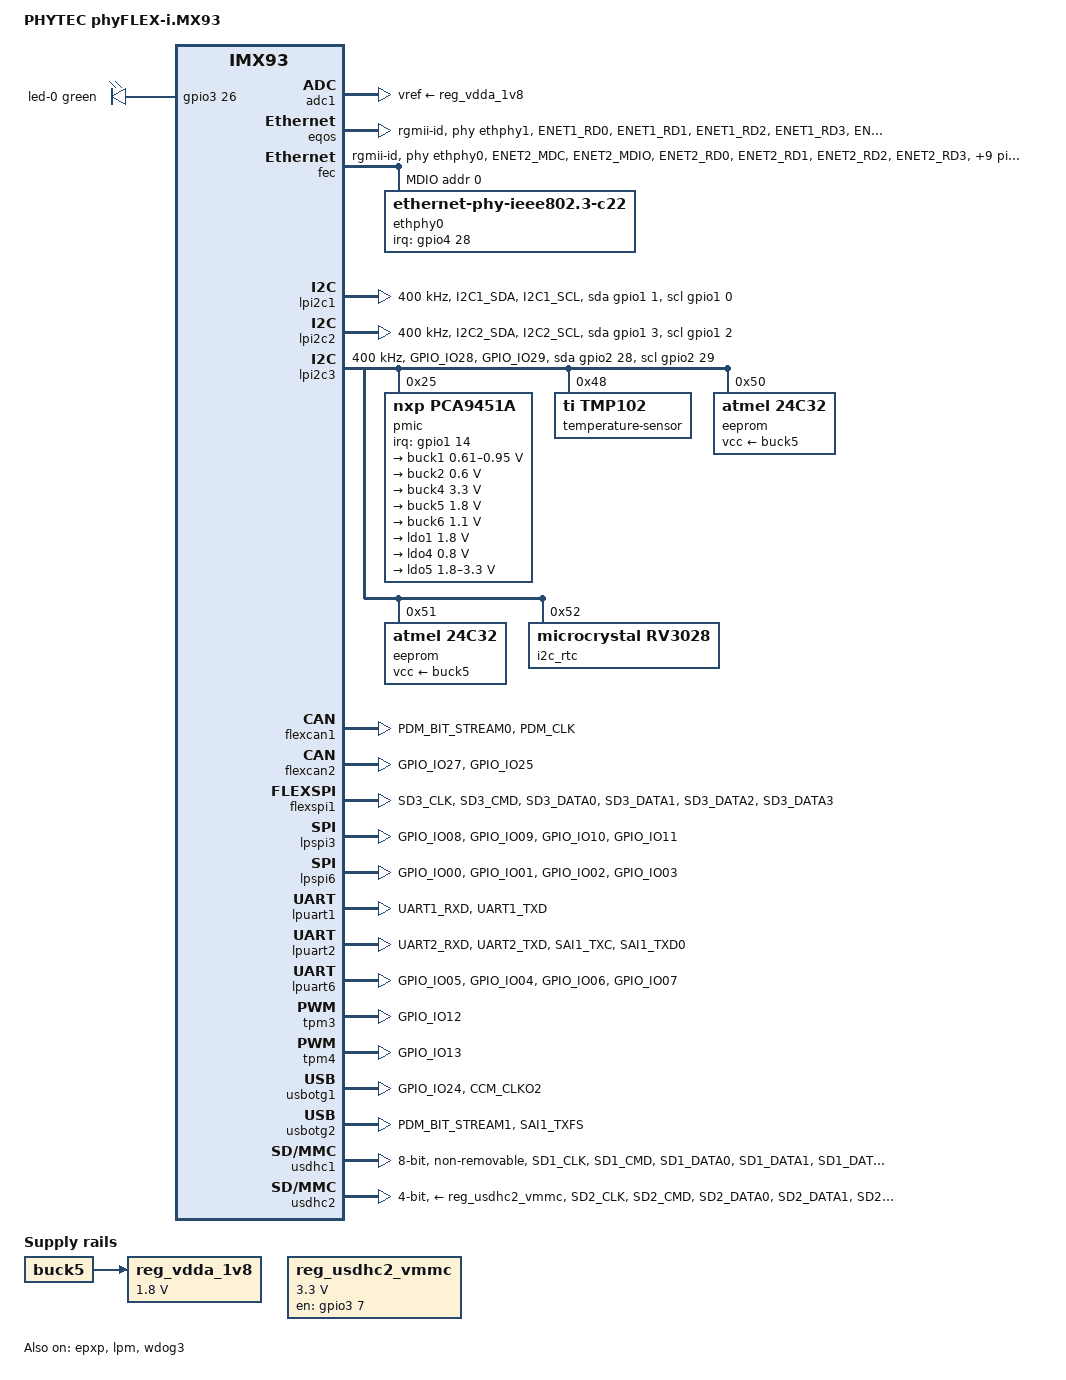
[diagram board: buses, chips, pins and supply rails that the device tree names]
// SPDX-License-Identifier: (GPL-2.0+ OR MIT)
/*
 * Copyright (C) 2025 PHYTEC Messtechnik GmbH
 * Christoph Stoidner <c.stoidner@phytec.de>
 *
 * Product homepage:
 * https://www.phytec.eu/en/produkte/system-on-modules/phyflex-imx-91-93/
 */

#include <dt-bindings/leds/common.h>

#include "imx93.dtsi"

/{
	model = "PHYTEC phyFLEX-i.MX93";
	compatible = "phytec,imx93-phyflex-fpsc-g", "fsl,imx93";

	aliases {
		/* FPSC alias definitions */
		/delete-property/ ethernet0;
		ethernet1 = &fec;
		ethernet2 = &eqos;
		/delete-property/ i2c0;
		i2c1 = &lpi2c3;
		i2c2 = &lpi2c1;
		i2c3 = &lpi2c2;
		pwm1 = &tpm3;
		pwm2 = &tpm4;
		/delete-property/ serial0;
		serial1 = &lpuart6;
		serial2 = &lpuart2;
		serial3 = &lpuart1;
		spi0 = &flexspi1;
		spi1 = &lpspi6;
		spi2 = &lpspi3;
	};

	reg_usdhc2_vmmc: regulator-usdhc2 {
		compatible = "regulator-fixed";
		gpio = <&gpio3 7 GPIO_ACTIVE_HIGH>;
		enable-active-high;
		pinctrl-names = "default";
		pinctrl-0 = <&pinctrl_reg_usdhc2_vmmc>;
		regulator-name = "VCC_SD";
		regulator-max-microvolt = <3300000>;
		regulator-min-microvolt = <3300000>;
	};

	reserved-memory {
		ranges;
		#address-cells = <2>;
		#size-cells = <2>;

		linux,cma {
			compatible = "shared-dma-pool";
			reusable;
			alloc-ranges = <0 0x80000000 0 0x40000000>;
			size = <0 0x10000000>;
			linux,cma-default;
		};

		ele_reserved: ele-reserved@a4120000 {
			compatible = "shared-dma-pool";
			reg = <0 0xa4120000 0 0x100000>;
			no-map;
		};
	};

	leds {
		compatible = "gpio-leds";
		pinctrl-names = "default";
		pinctrl-0 = <&pinctrl_leds>;

		led-0 {
			color = <LED_COLOR_ID_GREEN>;
			function = LED_FUNCTION_HEARTBEAT;
			gpios = <&gpio3 26 GPIO_ACTIVE_HIGH>;
			linux,default-trigger = "heartbeat";
		};
	};

	reg_vdda_1v8: regulator-vdda-1v8 {
		compatible = "regulator-fixed";
		regulator-name = "VDDA_1V8";
		regulator-min-microvolt = <1800000>;
		regulator-max-microvolt = <1800000>;
		vin-supply = <&buck5>;
	};
};

/* ADC */
&adc1 {
	vref-supply = <&reg_vdda_1v8>;
};

/* Secure enclave */
&ele_fw2 {
	memory-region = <&ele_reserved>;
};

/* FPSC ENET2 */
&eqos {
	pinctrl-names = "default";
	pinctrl-0 = <&pinctrl_eqos>;
	phy-mode = "rgmii-id";
	phy-handle = <&ethphy1>;
};

/* FPSC ENET1 */
&fec {
	pinctrl-names = "default";
	pinctrl-0 = <&pinctrl_fec>;
	phy-mode = "rgmii-id";
	phy-handle = <&ethphy0>;
	fsl,magic-packet;
	status = "okay";

	mdio: mdio {
		clock-frequency = <5000000>;
		#address-cells = <1>;
		#size-cells = <0>;

		ethphy0: ethernet-phy@0 {
			compatible = "ethernet-phy-ieee802.3-c22";
			reg = <0>;
			interrupt-parent = <&gpio4>;
			interrupts = <28 IRQ_TYPE_LEVEL_LOW>;
			ti,clk-output-sel = <DP83867_CLK_O_SEL_OFF>;
			ti,fifo-depth = <DP83867_PHYCR_FIFO_DEPTH_4_B_NIB>;
			ti,rx-internal-delay = <DP83867_RGMIIDCTL_1_50_NS>;
			ti,tx-internal-delay = <DP83867_RGMIIDCTL_1_75_NS>;
		};
	};
};

&gpio1 {
	gpio-line-names = "", "", "", "", "",
			  "", "", "", "", "",
			  "USB2_PWR_EN", "USB2_OC";
};

/* FPSC GPIO */
&gpio2 {
	gpio-line-names = "", "", "", "", "",
			  "", "", "", "", "",
			  "", "", "", "", "GPIO1",
			  "GPIO2", "", "", "", "",
			  "", "", "GPIO3", "GPIO4", "USB1_PWR_EN";
	pinctrl-0 = <&pinctrl_gpio2>;
	pinctrl-names = "default";
};

&gpio3 {
	gpio-line-names = "", "", "", "", "",
			  "", "", "", "", "",
			  "", "", "", "", "",
			  "", "", "", "", "",
			  "", "", "", "", "",
			  "", "", "USB1_OC";
};

/* FPSC I2C2 */
&lpi2c1 {
	clock-frequency = <400000>;
	pinctrl-names = "default", "gpio";
	pinctrl-0 = <&pinctrl_lpi2c1>;
	pinctrl-1 = <&pinctrl_lpi2c1_gpio>;
	scl-gpios = <&gpio1 0 (GPIO_ACTIVE_HIGH | GPIO_OPEN_DRAIN)>;
	sda-gpios = <&gpio1 1 (GPIO_ACTIVE_HIGH | GPIO_OPEN_DRAIN)>;
};

/* FPSC I2C3 */
&lpi2c2 {
	clock-frequency = <400000>;
	pinctrl-names = "default", "gpio";
	pinctrl-0 = <&pinctrl_lpi2c2>;
	pinctrl-1 = <&pinctrl_lpi2c2_gpio>;
	scl-gpios = <&gpio1 2 (GPIO_ACTIVE_HIGH | GPIO_OPEN_DRAIN)>;
	sda-gpios = <&gpio1 3 (GPIO_ACTIVE_HIGH | GPIO_OPEN_DRAIN)>;
};

/* FPSC I2C1 */
&lpi2c3 {
	clock-frequency = <400000>;
	pinctrl-names = "default", "gpio";
	pinctrl-0 = <&pinctrl_lpi2c3>;
	pinctrl-1 = <&pinctrl_lpi2c3_gpio>;
	scl-gpios = <&gpio2 29 (GPIO_ACTIVE_HIGH | GPIO_OPEN_DRAIN)>;
	sda-gpios = <&gpio2 28 (GPIO_ACTIVE_HIGH | GPIO_OPEN_DRAIN)>;
	status = "okay";

	pmic@25 {
		compatible = "nxp,pca9451a";
		reg = <0x25>;
		pinctrl-names = "default";
		pinctrl-0 = <&pinctrl_pmic>;
		interrupt-parent = <&gpio1>;
		interrupts = <14 IRQ_TYPE_LEVEL_LOW>;

		regulators {
			buck1: BUCK1 {
				regulator-name = "VDD_SOC";
				regulator-min-microvolt = <610000>;
				regulator-max-microvolt = <950000>;
				regulator-boot-on;
				regulator-always-on;
				regulator-ramp-delay = <3125>;
			};

			buck2: BUCK2 {
				regulator-name = "VDDQ_0V6";
				regulator-min-microvolt = <600000>;
				regulator-max-microvolt = <600000>;
				regulator-boot-on;
				regulator-always-on;
			};

			buck4: BUCK4 {
				regulator-name = "VDD_3V3";
				regulator-min-microvolt = <3300000>;
				regulator-max-microvolt = <3300000>;
				regulator-boot-on;
				regulator-always-on;
			};

			buck5: BUCK5 {
				regulator-name = "VDD_1V8";
				regulator-min-microvolt = <1800000>;
				regulator-max-microvolt = <1800000>;
				regulator-boot-on;
				regulator-always-on;
			};

			buck6: BUCK6 {
				regulator-name = "VDD_1V1";
				regulator-min-microvolt = <1100000>;
				regulator-max-microvolt = <1100000>;
				regulator-boot-on;
				regulator-always-on;
			};

			ldo1: LDO1 {
				regulator-name = "PMIC_SNVS_1V8";
				regulator-min-microvolt = <1800000>;
				regulator-max-microvolt = <1800000>;
				regulator-boot-on;
				regulator-always-on;
			};

			ldo4: LDO4 {
				regulator-name = "VDD_0V8";
				regulator-min-microvolt = <800000>;
				regulator-max-microvolt = <800000>;
				regulator-boot-on;
				regulator-always-on;
			};

			ldo5: LDO5 {
				regulator-name = "NVCC_SD2";
				regulator-min-microvolt = <1800000>;
				regulator-max-microvolt = <3300000>;
				regulator-boot-on;
				regulator-always-on;
			};
		};
	};

	temperature-sensor@48 {
		compatible = "ti,tmp102";
		reg = <0x48>;
		#thermal-sensor-cells = <1>;
	};

	/* factory EEPROM */
	eeprom@50 {
		compatible = "atmel,24c32";
		reg = <0x50>;
		pagesize = <32>;
		vcc-supply = <&buck5>;
	};

	/* User EEPROM */
	eeprom@51 {
		compatible = "atmel,24c32";
		reg = <0x51>;
		pagesize = <32>;
		vcc-supply = <&buck5>;
	};

	/* RTC */
	i2c_rtc: rtc@52 {
		compatible = "microcrystal,rv3028";
		reg = <0x52>;
		trickle-resistor-ohms = <3000>;
	};
};

/* PXP */
&epxp {
	status = "okay";
};

/* FPSC CAN1 */
&flexcan1 {
	pinctrl-names = "default";
	pinctrl-0 = <&pinctrl_flexcan1>;
};

/* FPSC CAN2 */
&flexcan2 {
	pinctrl-names = "default";
	pinctrl-0 = <&pinctrl_flexcan2>;
};

/* FPSC QSPI */
&flexspi1 {
	pinctrl-0 = <&pinctrl_flexspi>;
	pinctrl-names = "default";
};

/* Frequency scaling */
&lpm {
	soc-supply = <&buck1>;
	ld-mode-enabled;
	status = "okay";
};

/* FPSC SPI2 */
&lpspi3 {
	pinctrl-names = "default";
	pinctrl-0 = <&pinctrl_lpspi3>;
	cs-gpios = <&gpio2 8 GPIO_ACTIVE_LOW>;
};

/* FPSC SPI1 */
&lpspi6 {
	pinctrl-names = "default";
	pinctrl-0 = <&pinctrl_lpspi6>;
	cs-gpios = <&gpio2 0 GPIO_ACTIVE_LOW>;
	num-cs = <1>;
};

/* Console */
&lpuart1 {
	pinctrl-names = "default";
	pinctrl-0 = <&pinctrl_uart1>;
};

/* FPSC UART2 */
&lpuart2 {
	pinctrl-names = "default";
	pinctrl-0 = <&pinctrl_uart2>;
};

/* FPSC UART1 */
&lpuart6 {
	pinctrl-names = "default";
	pinctrl-0 = <&pinctrl_uart6>;
};

/* FPSC PWM1 */
&tpm3 {
	pinctrl-0 = <&pinctrl_tpm3>;
	pinctrl-names = "default";
};

/* FPSC PWM2 */
&tpm4 {
	pinctrl-0 = <&pinctrl_tpm4>;
	pinctrl-names = "default";
};

/* FPSC USB1 */
&usbotg1 {
	pinctrl-0 = <&pinctrl_usbc>;
	pinctrl-names = "default";
};

/* FPSC USB2 */
&usbotg2 {
	pinctrl-0 = <&pinctrl_usb2>;
	pinctrl-names = "default";
};

/* eMMC */
&usdhc1 {
	pinctrl-names = "default", "state_100mhz", "state_200mhz";
	pinctrl-0 = <&pinctrl_usdhc1>;
	pinctrl-1 = <&pinctrl_usdhc1_100mhz>;
	pinctrl-2 = <&pinctrl_usdhc1_200mhz>;
	bus-width = <8>;
	fsl,strobe-dll-delay-target = <1>;
	non-removable;
	no-1-8-v;
	status = "okay";
};

/* SD-Card */
&usdhc2 {
	pinctrl-names = "default", "state_100mhz", "state_200mhz";
	pinctrl-0 = <&pinctrl_usdhc2_default>, <&pinctrl_usdhc2_cd>;
	pinctrl-1 = <&pinctrl_usdhc2_100mhz>, <&pinctrl_usdhc2_cd>;
	pinctrl-2 = <&pinctrl_usdhc2_200mhz>, <&pinctrl_usdhc2_cd>;
	cd-gpios = <&gpio3 0 GPIO_ACTIVE_LOW>;
	vmmc-supply = <&reg_usdhc2_vmmc>;
	bus-width = <4>;
	disable-wp;
	no-mmc;
	no-sdio;
};

/* Watchdog */
&wdog3 {
	pinctrl-names = "default";
	pinctrl-0 = <&pinctrl_wdog>;
	fsl,ext-reset-output;
	status = "okay";
};

&iomuxc {
	pinctrl_eqos: eqosgrp {
		fsl,pins = <
			MX93_PAD_ENET1_RD0__ENET_QOS_RGMII_RD0			0x57e
			MX93_PAD_ENET1_RD1__ENET_QOS_RGMII_RD1			0x57e
			MX93_PAD_ENET1_RD2__ENET_QOS_RGMII_RD2			0x57e
			MX93_PAD_ENET1_RD3__ENET_QOS_RGMII_RD3			0x57e
			MX93_PAD_ENET1_RXC__CCM_ENET_QOS_CLOCK_GENERATE_RX_CLK	0x5fe
			MX93_PAD_ENET1_RX_CTL__ENET_QOS_RGMII_RX_CTL		0x57e
			MX93_PAD_ENET1_TD0__ENET_QOS_RGMII_TD0			0x57e
			MX93_PAD_ENET1_TD1__ENET_QOS_RGMII_TD1			0x57e
			MX93_PAD_ENET1_TD2__ENET_QOS_RGMII_TD2			0x57e
			MX93_PAD_ENET1_TD3__ENET_QOS_RGMII_TD3			0x57e
			MX93_PAD_ENET1_TXC__CCM_ENET_QOS_CLOCK_GENERATE_TX_CLK	0x59e
			MX93_PAD_ENET1_TX_CTL__ENET_QOS_RGMII_TX_CTL		0x50e
			MX93_PAD_ENET1_MDIO__GPIO4_IO01				0x1002
		>;
	};

	pinctrl_fec: fecgrp {
		fsl,pins = <
			MX93_PAD_ENET2_MDC__ENET1_MDC			0x50e
			MX93_PAD_ENET2_MDIO__ENET1_MDIO			0x502
			MX93_PAD_ENET2_RD0__ENET1_RGMII_RD0		0x37e
			MX93_PAD_ENET2_RD1__ENET1_RGMII_RD1		0x37e
			MX93_PAD_ENET2_RD2__ENET1_RGMII_RD2		0x37e
			MX93_PAD_ENET2_RD3__ENET1_RGMII_RD3		0x37e
			MX93_PAD_ENET2_RXC__ENET1_RGMII_RXC		0x37e
			MX93_PAD_ENET2_RX_CTL__ENET1_RGMII_RX_CTL	0x57e
			MX93_PAD_ENET2_TD0__ENET1_RGMII_TD0		0x57e
			MX93_PAD_ENET2_TD1__ENET1_RGMII_TD1		0x57e
			MX93_PAD_ENET2_TD2__ENET1_RGMII_TD2		0x51e
			MX93_PAD_ENET2_TD3__ENET1_RGMII_TD3		0x51e
			MX93_PAD_ENET2_TXC__ENET1_RGMII_TXC		0x51e
			MX93_PAD_ENET2_TX_CTL__ENET1_RGMII_TX_CTL	0x50e
			MX93_PAD_CCM_CLKO3__GPIO4_IO28			0x1002
		>;
	};

	pinctrl_gpio2: gpio2grp {
		fsl,pins = <
			MX93_PAD_GPIO_IO14__GPIO2_IO14		0x31e	/* GPIO1 */
			MX93_PAD_GPIO_IO15__GPIO2_IO15		0x31e	/* GPIO2 */
			MX93_PAD_GPIO_IO22__GPIO2_IO22		0x31e	/* GPIO3 */
			MX93_PAD_GPIO_IO23__GPIO2_IO23		0x31e	/* GPIO4 */
		>;
	};

	pinctrl_leds: ledsgrp {
		fsl,pins = <
			MX93_PAD_CCM_CLKO1__GPIO3_IO26		0x11e
		>;
	};

	pinctrl_flexcan1: flexcan1grp {
		fsl,pins = <
			MX93_PAD_PDM_BIT_STREAM0__CAN1_RX       0x139e
			MX93_PAD_PDM_CLK__CAN1_TX               0x1382
		>;
	};

	pinctrl_flexcan2: flexcan2grp {
		fsl,pins = <
			MX93_PAD_GPIO_IO27__CAN2_RX             0x139e
			MX93_PAD_GPIO_IO25__CAN2_TX             0x1382
		>;
	};

	pinctrl_flexspi: flexspigrp {
		fsl,pins = <
			MX93_PAD_SD3_CLK__FLEXSPI1_A_SCLK		0x186   /* QSPI_CLK */
			MX93_PAD_SD3_CMD__FLEXSPI1_A_SS0_B		0x38e   /* QSPI_DATA_0 */
			MX93_PAD_SD3_DATA0__FLEXSPI1_A_DATA00		0x38e   /* QSPI_DATA_1 */
			MX93_PAD_SD3_DATA1__FLEXSPI1_A_DATA01		0x38e   /* QSPI_DATA_2 */
			MX93_PAD_SD3_DATA2__FLEXSPI1_A_DATA02		0x38e   /* QSPI_DATA_3 */
			MX93_PAD_SD3_DATA3__FLEXSPI1_A_DATA03		0x38e   /* QSPI_DQS */
		>;
	};

	pinctrl_lpi2c1: lpi2c1grp {
		fsl,pins = <
			MX93_PAD_I2C1_SDA__LPI2C1_SDA           0x40000b9e
			MX93_PAD_I2C1_SCL__LPI2C1_SCL           0x40000b9e
		>;
	};

	pinctrl_lpi2c1_gpio: lpi2c1gpiogrp {
		fsl,pins = <
			MX93_PAD_I2C1_SDA__GPIO1_IO01           0x31e
			MX93_PAD_I2C1_SCL__GPIO1_IO00           0x31e
		>;
	};

	pinctrl_lpi2c2: lpi2c2grp {
		fsl,pins = <
			MX93_PAD_I2C2_SDA__LPI2C2_SDA		0x40000b9e
			MX93_PAD_I2C2_SCL__LPI2C2_SCL		0x40000b9e
		>;
	};

	pinctrl_lpi2c2_gpio: lpi2c2gpiogrp {
		fsl,pins = <
			MX93_PAD_I2C2_SDA__GPIO1_IO03		0x31e
			MX93_PAD_I2C2_SCL__GPIO1_IO02		0x31e
		>;
	};

	pinctrl_lpi2c3: lpi2c3grp {
		fsl,pins = <
			MX93_PAD_GPIO_IO28__LPI2C3_SDA		0x40000b9e
			MX93_PAD_GPIO_IO29__LPI2C3_SCL		0x40000b9e
		>;
	};

	pinctrl_lpi2c3_gpio: lpi2c3gpiogrp {
		fsl,pins = <
			MX93_PAD_GPIO_IO28__GPIO2_IO28		0x31e
			MX93_PAD_GPIO_IO29__GPIO2_IO29		0x31e
		>;
	};

	pinctrl_lpspi3: lpspi3grp {
		fsl,pins = <
			MX93_PAD_GPIO_IO08__GPIO2_IO08		0x386
			MX93_PAD_GPIO_IO09__LPSPI3_SIN		0x3fe
			MX93_PAD_GPIO_IO10__LPSPI3_SOUT		0x386
			MX93_PAD_GPIO_IO11__LPSPI3_SCK		0x386
		>;
	};

	pinctrl_lpspi6: lpspi6grp {
		fsl,pins = <
			MX93_PAD_GPIO_IO00__GPIO2_IO00		0x386
			MX93_PAD_GPIO_IO01__LPSPI6_SIN		0x3fe
			MX93_PAD_GPIO_IO02__LPSPI6_SOUT		0x386
			MX93_PAD_GPIO_IO03__LPSPI6_SCK		0x386
		>;
	};

	pinctrl_pmic: pmicgrp {
		fsl,pins = <
			MX93_PAD_SAI1_RXD0__GPIO1_IO14		0x31e
		>;
	};

	pinctrl_tpm3: tpm3grp {
		fsl,pins = <
			MX93_PAD_GPIO_IO12__TPM3_CH2	0x51e
		>;
	};

	pinctrl_tpm4: tpm4grp {
		fsl,pins = <
			MX93_PAD_GPIO_IO13__TPM4_CH2	0x51e
		>;
	};

	pinctrl_uart1: uart1grp {
		fsl,pins = <
			MX93_PAD_UART1_RXD__LPUART1_RX		0x31e
			MX93_PAD_UART1_TXD__LPUART1_TX		0x37e
		>;
	};

	pinctrl_uart2: uart2grp {
		fsl,pins = <
			MX93_PAD_UART2_RXD__LPUART2_RX          0x31e
			MX93_PAD_UART2_TXD__LPUART2_TX          0x37e
			MX93_PAD_SAI1_TXC__LPUART2_CTS_B        0x31e
			MX93_PAD_SAI1_TXD0__LPUART2_RTS_B       0x31e
		>;
	};

	pinctrl_uart6: uart6grp {
		fsl,pins = <
			MX93_PAD_GPIO_IO05__LPUART6_RX          0x31e
			MX93_PAD_GPIO_IO04__LPUART6_TX          0x37e
			MX93_PAD_GPIO_IO06__LPUART6_CTS_B       0x31e
			MX93_PAD_GPIO_IO07__LPUART6_RTS_B       0x31e
		>;
	};

	pinctrl_usbc: usbcgrp {
		fsl,pins = <
			MX93_PAD_GPIO_IO24__GPIO2_IO24		0x31e   /* USB1_PWR_EN */
			MX93_PAD_CCM_CLKO2__GPIO3_IO27		0x31e   /* USB1_OC */
		>;
	};

	pinctrl_usb2: usb2grp {
		fsl,pins = <
			MX93_PAD_PDM_BIT_STREAM1__GPIO1_IO10	0x31e   /* USB2_PWR_EN */
			MX93_PAD_SAI1_TXFS__GPIO1_IO11		0x31e   /* USB2_OC */
		>;
	};

	/* need to config the SION for data and cmd pad, refer to ERR052021 */
	pinctrl_usdhc1: usdhc1grp {
		fsl,pins = <
			MX93_PAD_SD1_CLK__USDHC1_CLK		0x119e
			MX93_PAD_SD1_CMD__USDHC1_CMD		0x40001386
			MX93_PAD_SD1_DATA0__USDHC1_DATA0	0x4000138e
			MX93_PAD_SD1_DATA1__USDHC1_DATA1	0x40001386
			MX93_PAD_SD1_DATA2__USDHC1_DATA2	0x4000138e
			MX93_PAD_SD1_DATA3__USDHC1_DATA3	0x40001386
			MX93_PAD_SD1_DATA4__USDHC1_DATA4	0x40001386
			MX93_PAD_SD1_DATA5__USDHC1_DATA5	0x40001386
			MX93_PAD_SD1_DATA6__USDHC1_DATA6	0x40001386
			MX93_PAD_SD1_DATA7__USDHC1_DATA7	0x40001386
			MX93_PAD_SD1_STROBE__USDHC1_STROBE	0x159e
			MX93_PAD_CCM_CLKO4__GPIO4_IO29		0x0200
		>;
	};

	/* need to config the SION for data and cmd pad, refer to ERR052021 */
	pinctrl_usdhc1_100mhz: usdhc1-100mhzgrp {
		fsl,pins = <
			MX93_PAD_SD1_CLK__USDHC1_CLK		0x11be
			MX93_PAD_SD1_CMD__USDHC1_CMD		0x4000139e
			MX93_PAD_SD1_DATA0__USDHC1_DATA0	0x4000138e
			MX93_PAD_SD1_DATA1__USDHC1_DATA1	0x4000139e
			MX93_PAD_SD1_DATA2__USDHC1_DATA2	0x400013be
			MX93_PAD_SD1_DATA3__USDHC1_DATA3	0x4000139e
			MX93_PAD_SD1_DATA4__USDHC1_DATA4	0x4000139e
			MX93_PAD_SD1_DATA5__USDHC1_DATA5	0x4000139e
			MX93_PAD_SD1_DATA6__USDHC1_DATA6	0x4000139e
			MX93_PAD_SD1_DATA7__USDHC1_DATA7	0x4000139e
			MX93_PAD_SD1_STROBE__USDHC1_STROBE	0x159e
			MX93_PAD_CCM_CLKO4__GPIO4_IO29		0x0200
		>;
	};

	/* need to config the SION for data and cmd pad, refer to ERR052021 */
	pinctrl_usdhc1_200mhz: usdhc1-200mhzgrp {
		fsl,pins = <
			MX93_PAD_SD1_CLK__USDHC1_CLK		0x11be
			MX93_PAD_SD1_CMD__USDHC1_CMD		0x4000139e
			MX93_PAD_SD1_DATA0__USDHC1_DATA0	0x4000139e
			MX93_PAD_SD1_DATA1__USDHC1_DATA1	0x400013be
			MX93_PAD_SD1_DATA2__USDHC1_DATA2	0x400013be
			MX93_PAD_SD1_DATA3__USDHC1_DATA3	0x400013be
			MX93_PAD_SD1_DATA4__USDHC1_DATA4	0x400013be
			MX93_PAD_SD1_DATA5__USDHC1_DATA5	0x400013be
			MX93_PAD_SD1_DATA6__USDHC1_DATA6	0x400013be
			MX93_PAD_SD1_DATA7__USDHC1_DATA7	0x400013be
			MX93_PAD_SD1_STROBE__USDHC1_STROBE	0x159e
			MX93_PAD_CCM_CLKO4__GPIO4_IO29		0x0200
		>;
	};

	pinctrl_reg_usdhc2_vmmc: regusdhc2vmmcgrp {
		fsl,pins = <
			MX93_PAD_SD2_RESET_B__GPIO3_IO07	0x31e
		>;
	};

	pinctrl_usdhc2_cd: usdhc2cdgrp {
		fsl,pins = <
			MX93_PAD_SD2_CD_B__GPIO3_IO00		0x31e
		>;
	};

	/* need to config the SION for data and cmd pad, refer to ERR052021 */
	pinctrl_usdhc2_default: usdhc2grp {
		fsl,pins = <
			MX93_PAD_SD2_CLK__USDHC2_CLK		0x119e
			MX93_PAD_SD2_CMD__USDHC2_CMD		0x4000138e
			MX93_PAD_SD2_DATA0__USDHC2_DATA0	0x4000138e
			MX93_PAD_SD2_DATA1__USDHC2_DATA1	0x4000138e
			MX93_PAD_SD2_DATA2__USDHC2_DATA2	0x4000138e
			MX93_PAD_SD2_DATA3__USDHC2_DATA3	0x4000138e
			MX93_PAD_SD2_VSELECT__USDHC2_VSELECT	0x51e
		>;
	};

	/* need to config the SION for data and cmd pad, refer to ERR052021 */
	pinctrl_usdhc2_100mhz: usdhc2-100mhzgrp {
		fsl,pins = <
			MX93_PAD_SD2_CLK__USDHC2_CLK		0x119e
			MX93_PAD_SD2_CMD__USDHC2_CMD		0x4000138e
			MX93_PAD_SD2_DATA0__USDHC2_DATA0	0x4000138e
			MX93_PAD_SD2_DATA1__USDHC2_DATA1	0x4000138e
			MX93_PAD_SD2_DATA2__USDHC2_DATA2	0x4000138e
			MX93_PAD_SD2_DATA3__USDHC2_DATA3	0x400013be
			MX93_PAD_SD2_VSELECT__USDHC2_VSELECT	0x51e
		>;
	};

	/* need to config the SION for data and cmd pad, refer to ERR052021 */
	pinctrl_usdhc2_200mhz: usdhc2-200mhzgrp {
		fsl,pins = <
			MX93_PAD_SD2_CLK__USDHC2_CLK		0x119e
			MX93_PAD_SD2_CMD__USDHC2_CMD		0x4000139e
			MX93_PAD_SD2_DATA0__USDHC2_DATA0	0x4000139e
			MX93_PAD_SD2_DATA1__USDHC2_DATA1	0x4000139e
			MX93_PAD_SD2_DATA2__USDHC2_DATA2	0x4000139e
			MX93_PAD_SD2_DATA3__USDHC2_DATA3	0x4000139e
			MX93_PAD_SD2_VSELECT__USDHC2_VSELECT	0x51e
		>;
	};

	pinctrl_wdog: wdoggrp {
		fsl,pins = <
			MX93_PAD_WDOG_ANY__WDOG1_WDOG_ANY	0x31e
		>;
	};
};
